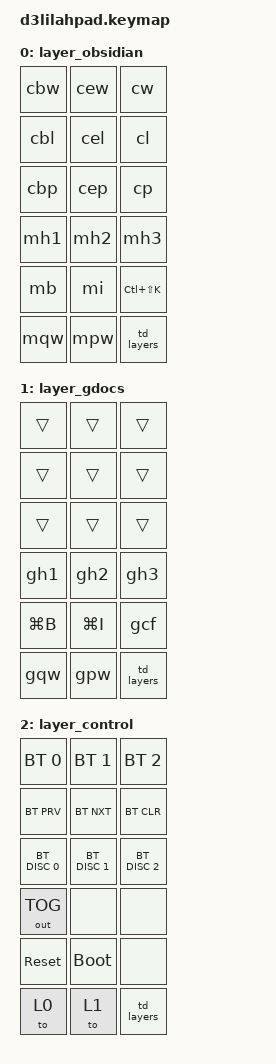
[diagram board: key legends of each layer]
/*
 * D3lilahPad-18 ZMK Keymap
 * 3 columns x 6 rows
 * Layer 0: Obsidian/Markdown
 * Layer 1: Google Docs
 * Layer 2: Control (BT, Reset, Bootloader)
 */

#include <behaviors.dtsi>
#include <dt-bindings/zmk/keys.h>
#include <dt-bindings/zmk/bt.h>
#include <dt-bindings/zmk/outputs.h>

/ {
    behaviors {
        // Tap-dance for layer selection: tap=L0, double=L1, triple=L2
        td_layers: tap_dance_layers {
            compatible = "zmk,behavior-tap-dance";
            #binding-cells = <0>;
            tapping-term-ms = <250>;
            bindings = <&to 0>, <&to 1>, <&to 2>;
        };
    };

    macros {
        // ==================== CUT MACROS (shared both layers) ====================

        // Row 0: Word cuts
        cbw: cut_begin_word {
            compatible = "zmk,behavior-macro";
            #binding-cells = <0>;
            wait-ms = <10>;
            tap-ms = <10>;
            bindings = <&kp LS(LA(LEFT))>, <&kp LG(X)>;
        };

        cew: cut_end_word {
            compatible = "zmk,behavior-macro";
            #binding-cells = <0>;
            wait-ms = <10>;
            tap-ms = <10>;
            bindings = <&kp LS(LA(RIGHT))>, <&kp LG(X)>;
        };

        cw: cut_word {
            compatible = "zmk,behavior-macro";
            #binding-cells = <0>;
            wait-ms = <10>;
            tap-ms = <10>;
            bindings = <&kp LA(LEFT)>, <&kp LS(LA(RIGHT))>, <&kp LG(X)>;
        };

        // Row 1: Line cuts
        cbl: cut_begin_line {
            compatible = "zmk,behavior-macro";
            #binding-cells = <0>;
            wait-ms = <10>;
            tap-ms = <10>;
            bindings = <&kp LS(LG(LEFT))>, <&kp LG(X)>;
        };

        cel: cut_end_line {
            compatible = "zmk,behavior-macro";
            #binding-cells = <0>;
            wait-ms = <10>;
            tap-ms = <10>;
            bindings = <&kp LS(LG(RIGHT))>, <&kp LG(X)>;
        };

        cl: cut_line {
            compatible = "zmk,behavior-macro";
            #binding-cells = <0>;
            wait-ms = <10>;
            tap-ms = <10>;
            bindings = <&kp LG(LEFT)>, <&kp LS(LG(RIGHT))>, <&kp LG(X)>;
        };

        // Row 2: Paragraph cuts
        cbp: cut_begin_para {
            compatible = "zmk,behavior-macro";
            #binding-cells = <0>;
            wait-ms = <10>;
            tap-ms = <10>;
            bindings = <&kp LS(LA(UP))>, <&kp LG(X)>;
        };

        cep: cut_end_para {
            compatible = "zmk,behavior-macro";
            #binding-cells = <0>;
            wait-ms = <10>;
            tap-ms = <10>;
            bindings = <&kp LS(LA(DOWN))>, <&kp LG(X)>;
        };

        cp: cut_para {
            compatible = "zmk,behavior-macro";
            #binding-cells = <0>;
            wait-ms = <10>;
            tap-ms = <10>;
            bindings = <&kp LA(UP)>, <&kp LS(LA(DOWN))>, <&kp LG(X)>;
        };

        // ==================== LAYER 0: MARKDOWN/OBSIDIAN ====================

        // Row 3: Headings (# = Shift+3 on US keyboard)
        mh1: md_h1 {
            compatible = "zmk,behavior-macro";
            #binding-cells = <0>;
            wait-ms = <10>;
            tap-ms = <10>;
            bindings = <&kp LS(N3) &kp SPACE>;
        };

        mh2: md_h2 {
            compatible = "zmk,behavior-macro";
            #binding-cells = <0>;
            wait-ms = <10>;
            tap-ms = <10>;
            bindings = <&kp LS(N3) &kp LS(N3) &kp SPACE>;
        };

        mh3: md_h3 {
            compatible = "zmk,behavior-macro";
            #binding-cells = <0>;
            wait-ms = <10>;
            tap-ms = <10>;
            bindings = <&kp LS(N3) &kp LS(N3) &kp LS(N3) &kp SPACE>;
        };

        // Row 4: Formatting (* = Shift+8 on US keyboard)
        mb: md_bold {
            compatible = "zmk,behavior-macro";
            #binding-cells = <0>;
            wait-ms = <10>;
            tap-ms = <10>;
            bindings = <&kp LS(N8) &kp LS(N8)>;
        };

        mi: md_italic {
            compatible = "zmk,behavior-macro";
            #binding-cells = <0>;
            wait-ms = <10>;
            tap-ms = <10>;
            bindings = <&kp LS(N8)>;
        };

        // Row 5: Wraps (" = Shift+' and ( = Shift+9 on US keyboard)
        mqw: md_quote_wrap {
            compatible = "zmk,behavior-macro";
            #binding-cells = <0>;
            wait-ms = <10>;
            tap-ms = <10>;
            bindings = <&kp LS(SQT)>;
        };

        mpw: md_paren_wrap {
            compatible = "zmk,behavior-macro";
            #binding-cells = <0>;
            wait-ms = <10>;
            tap-ms = <10>;
            bindings = <&kp LS(N9)>;
        };

        // ==================== LAYER 1: GOOGLE DOCS ====================

        // Row 3: Headings
        gh1: gdoc_h1 {
            compatible = "zmk,behavior-macro";
            #binding-cells = <0>;
            wait-ms = <10>;
            tap-ms = <10>;
            bindings = <&kp LG(LA(N1))>;
        };

        gh2: gdoc_h2 {
            compatible = "zmk,behavior-macro";
            #binding-cells = <0>;
            wait-ms = <10>;
            tap-ms = <10>;
            bindings = <&kp LG(LA(N2))>;
        };

        gh3: gdoc_h3 {
            compatible = "zmk,behavior-macro";
            #binding-cells = <0>;
            wait-ms = <10>;
            tap-ms = <10>;
            bindings = <&kp LG(LA(N3))>;
        };

        // Row 4: Clear formatting
        gcf: gdoc_clear_format {
            compatible = "zmk,behavior-macro";
            #binding-cells = <0>;
            wait-ms = <10>;
            tap-ms = <10>;
            bindings = <&kp LG(BSLH)>;
        };

        // Row 5: Wraps (cut, quote/paren, paste, close quote/paren)
        gqw: gdoc_quote_wrap {
            compatible = "zmk,behavior-macro";
            #binding-cells = <0>;
            wait-ms = <100>;
            tap-ms = <100>;
            bindings = <&kp LG(X)>, <&kp LS(SQT)>, <&kp LG(V)>, <&kp LS(SQT)>;
        };

        gpw: gdoc_paren_wrap {
            compatible = "zmk,behavior-macro";
            #binding-cells = <0>;
            wait-ms = <100>;
            tap-ms = <100>;
            bindings = <&kp LG(X)>, <&kp LS(N9)>, <&kp LG(V)>, <&kp LS(N0)>;
        };
    };

    keymap {
        compatible = "zmk,keymap";

        layer_obsidian {
            bindings = <
                // Row 0: Word cuts
                &cbw        &cew        &cw
                // Row 1: Line cuts
                &cbl        &cel        &cl
                // Row 2: Paragraph cuts
                &cbp        &cep        &cp
                // Row 3: Markdown headings
                &mh1        &mh2        &mh3
                // Row 4: Markdown formatting
                &mb         &mi         &kp LC(LS(K))
                // Row 5: Markdown wraps + layer select (tap=L0, double=L1, hold=L2)
                &mqw        &mpw        &td_layers
            >;
        };

        layer_gdocs {
            bindings = <
                // Row 0: Word cuts (transparent - same as layer 0)
                &trans      &trans      &trans
                // Row 1: Line cuts (transparent)
                &trans      &trans      &trans
                // Row 2: Paragraph cuts (transparent)
                &trans      &trans      &trans
                // Row 3: Google Docs headings
                &gh1        &gh2        &gh3
                // Row 4: Google Docs formatting
                &kp LG(B)   &kp LG(I)   &gcf
                // Row 5: Google Docs wraps + layer select
                &gqw        &gpw        &td_layers
            >;
        };

        layer_control {
            bindings = <
                // Row 0: BT Profile Select
                &bt BT_SEL 0  &bt BT_SEL 1  &bt BT_SEL 2
                // Row 1: BT Navigation
                &bt BT_PRV    &bt BT_NXT    &bt BT_CLR
                // Row 2: BT Disconnect profiles
                &bt BT_DISC 0 &bt BT_DISC 1 &bt BT_DISC 2
                // Row 3: Output toggle + unused
                &out OUT_TOG  &none         &none
                // Row 4: System
                &sys_reset    &bootloader   &none
                // Row 5: Return to layers
                &to 0         &to 1         &td_layers
            >;
        };
    };
};
